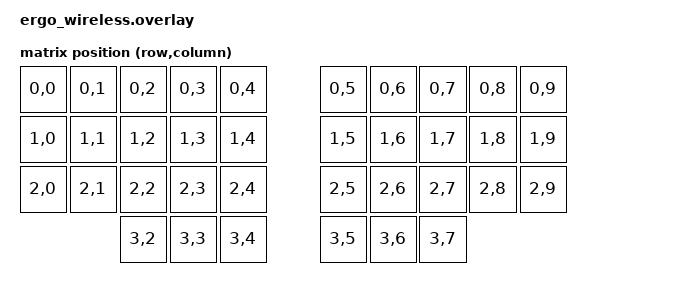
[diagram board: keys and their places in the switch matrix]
#include <dt-bindings/zmk/matrix_transform.h>
#include "ergo_wireless.dtsi"

/ {
    chosen {
        zmk,kscan = &kscan0;
        zmk,physical-layout = &default_layout;
      
        // Other chosen items
    };
}

kscan = <&kscan0>;
transform = <&default_transform>;

/ {
    default_transform: keymap_transform0 {
        compatible = "zmk,matrix-transform";
        columns = <10>; // Length of the "col-gpios" array
        rows = <4>; // Length of the "row-gpios" array
        map = <
            RC(0,0) RC(0,1) RC(0,2) RC(0,3) RC(0,4) RC(0,5) RC(0,6) RC(0,7) RC(0,8) RC(0,9)
            RC(1,0) RC(1,1) RC(1,2) RC(1,3) RC(1,4) RC(1,5) RC(1,6) RC(1,7) RC(1,8) RC(1,9) 
            RC(2,0) RC(2,1) RC(2,2) RC(2,3) RC(2,4) RC(2,5) RC(2,6) RC(2,7) RC(2,8) RC(2,9) 
                            RC(3,2) RC(3,3) RC(3,4) RC(3,5) RC(3,6) RC(3,7)
        >;
    };
};
